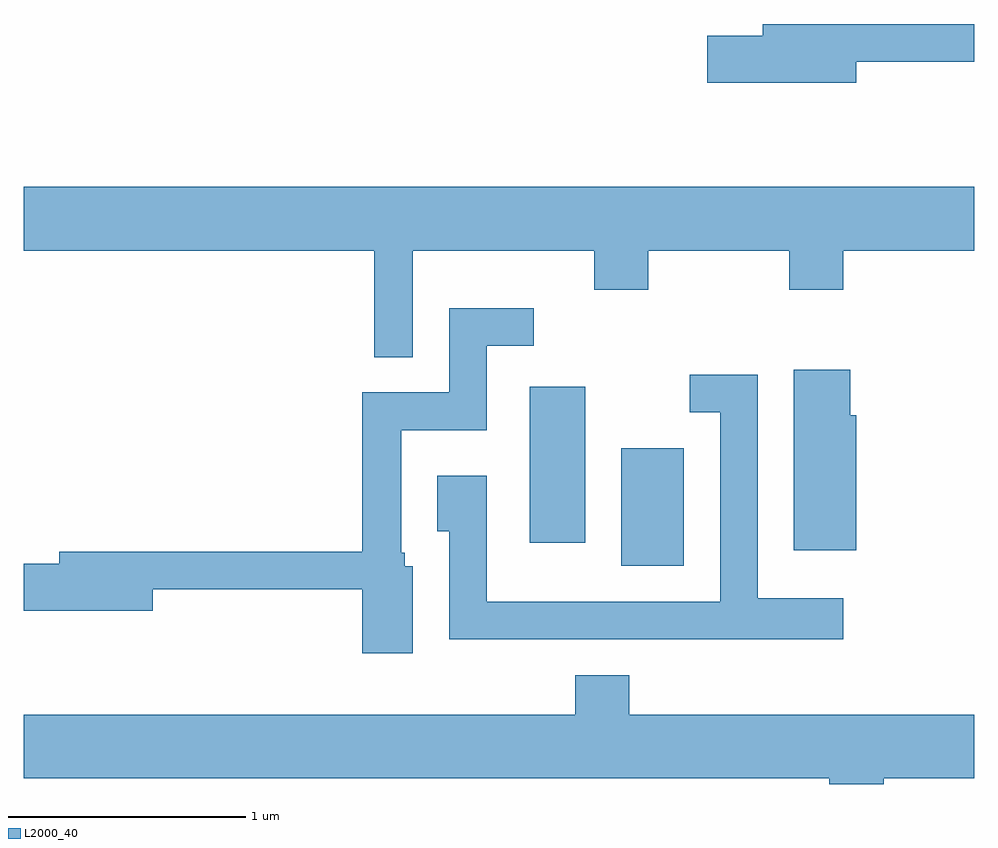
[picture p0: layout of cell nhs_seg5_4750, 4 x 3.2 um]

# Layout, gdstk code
import gdstk
lib = gdstk.Library(unit=1e-6, precision=1e-09)
def R(c, l, rs):  # rectangles x0, y0, x1, y1
    for r in rs: c.add(gdstk.rectangle(r[:2], r[2:], *l))
def P(c, l, *ps):  # polygons
    for p in ps: c.add(gdstk.Polygon(p, *l))
L2000_40 = (2000, 40)

nhs_seg5_4750 = lib.new_cell('nhs_seg5_4750')
R(nhs_seg5_4750, L2000_40, [(328.126,1490.991,328.389,1491.484), (327.741,1491.086,327.974,1491.744)])
P(nhs_seg5_4750, L2000_40, [(329.114,1493.111),(329.611,1493.111),(329.611,1493.269),(328.721,1493.269),(328.721,1493.219),(328.486,1493.219),(328.486,1493.021),(329.114,1493.021)],
  [(327.249,1492.316),(328.011,1492.316),(328.011,1492.151),(328.239,1492.151),(328.239,1492.316),(328.831,1492.316),(328.831,1492.151),(329.059,1492.151),(329.059,1492.316),(329.611,1492.316),(329.611,1492.584),(325.611,1492.584),(325.611,1492.316),(327.086,1492.316),(327.086,1491.868),(327.249,1491.868)],
  [(327.249,1490.989),(327.214,1490.989),(327.214,1491.045),(327.199,1491.045),(327.199,1491.561),(327.559,1491.561),(327.559,1491.916),(327.758,1491.916),(327.758,1492.074),(327.401,1492.074),(327.401,1491.719),(327.036,1491.719),(327.036,1491.049),(325.761,1491.049),(325.761,1490.999),(325.611,1490.999),(325.611,1490.801),(326.154,1490.801),(326.154,1490.891),(327.036,1490.891),(327.036,1490.621),(327.249,1490.621)],
  [(329.114,1491.624),(329.089,1491.624),(329.089,1491.814),(328.851,1491.814),(328.851,1491.056),(329.114,1491.056)],
  [(329.059,1490.854),(328.699,1490.854),(328.699,1491.794),(328.413,1491.794),(328.413,1491.636),(328.541,1491.636),(328.541,1490.839),(327.559,1490.839),(327.559,1491.369),(327.351,1491.369),(327.351,1491.136),(327.401,1491.136),(327.401,1490.681),(329.059,1490.681)],
  [(329.229,1490.096),(329.611,1490.096),(329.611,1490.364),(328.159,1490.364),(328.159,1490.529),(327.931,1490.529),(327.931,1490.364),(325.611,1490.364),(325.611,1490.096),(329.001,1490.096),(329.001,1490.072),(329.229,1490.072)])

lib.write_gds('nhs_seg5_4750.gds')
